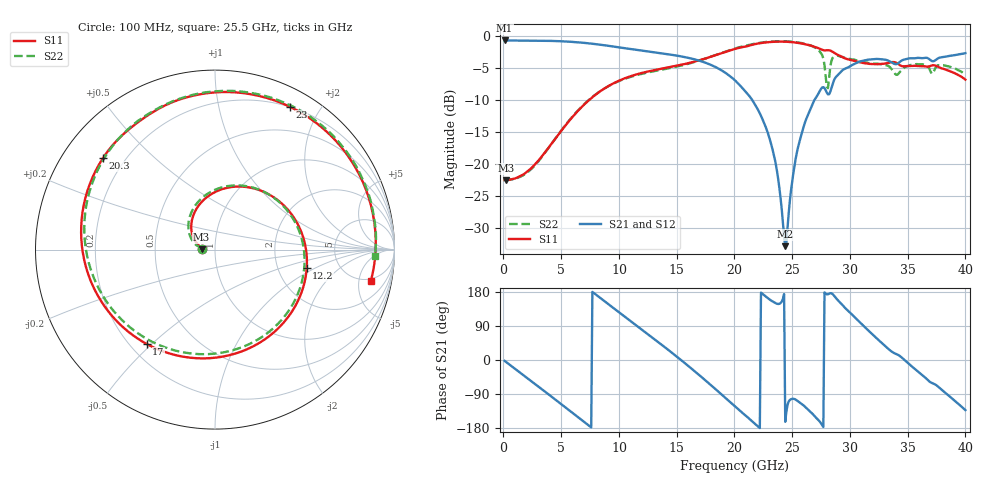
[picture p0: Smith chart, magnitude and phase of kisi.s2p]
! BV_vna_rf_hblb1: LibreVNA RF_HBLB_PORT1, via F.Cu → In2.Cu with a 0.87 mm stub to B.Cu (CPWG feeds)
! stackup: VNA from the board file and its kisi.json
! ports: 1 in, 2 out
! kisi-fdtd, conformal, dfine 0.0175 mm (the cell at metal ÷ 2), 5409600 cells
# Hz S RI R 50
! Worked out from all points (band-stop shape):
!   400 points, 100 MHz to 40 GHz, reference 50 ohm
!   highest |S21| = -0.67 dB at 100 MHz (marker M1); lowest = -32.9 dB at 24.4 GHz (marker M2)
!   |S21| within 3 dB of the highest: start of sweep to 16.64 GHz; 37.47 GHz to end of sweep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
!   lowest |S11| = -22.5 dB at 200 MHz (marker M3), VSWR 1.16, Z = 43.1 + j0.152 ohm
!   |S11| at or under -10 dB: start of sweep to 7.415 GHz
!   |S22| runs from -22.5 to -0.8 dB; largest |S21 - S12| = 0.0071
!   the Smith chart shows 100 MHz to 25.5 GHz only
!   S11 on the Smith chart (normalised r, x): 100 MHz: 0.86, +0.00; 12.2 GHz: 2.92, -0.82; 17 GHz: 0.27, -0.48; 20.3 GHz: 0.12, +0.35; 23 GHz: 0.20, +1.63; 25.5 GHz: 4.48, -7.29
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1e8  -0.0747 0.00092  0.9247 -0.0374  0.9246 -0.0375  -0.0747 0.000627
2e8  -0.0747 0.00175  0.9223 -0.0747  0.9222 -0.0746  -0.0747 0.00121
3.6e9  -0.1124 0.0507  0.1038 -0.9146  0.1037 -0.9144  -0.1166 0.037
6.8e9  -0.0679 0.2722  -0.83 -0.3195  -0.8301 -0.3196  -0.0929 0.267
9.8e9  0.3321 0.2882  -0.5366 0.6233  -0.5366 0.6234  0.329 0.2879
1.22e10  0.511 -0.1017  0.1941 0.7406  0.194 0.7406  0.4906 -0.1486
1.34e10  0.4329 -0.3386  0.5012 0.5446  0.5012 0.5444  0.369 -0.394
1.7e10  -0.3806 -0.5258  0.4838 -0.421  0.4837 -0.421  -0.4969 -0.4127
2.01e10  -0.6653 0.4384  -0.2487 -0.3706  -0.2486 -0.3706  -0.607 0.5253
2.03e10  -0.6239 0.5102  -0.271 -0.3317  -0.271 -0.3317  -0.5644 0.5855
2.3e10  0.4161 0.7965  -0.154 0.0539  -0.1541 0.0535  0.387 0.8185
2.44e10  0.8419 0.3323  -0.0218 -0.00656  -0.0222 -0.00718  0.8064 0.4265
2.55e10  0.8682 -0.1752  -0.0432 -0.1269  -0.0424 -0.1262  0.8911 -0.0371
2.67e10  0.5491 -0.6332  -0.2189 -0.1843  -0.2197 -0.1832  0.657 -0.5222
2.79e10  0.0377 -0.7731  -0.3766 0.0332  -0.3817 0.0377  0.0381 -0.4896
2.83e10  -0.1623 -0.7541  -0.3661 0.0235  -0.3685 0.0169  0.3188 -0.4744
3.01e10  -0.6315 -0.1548  -0.3152 0.4967  -0.3134 0.4957  -0.3615 -0.5518
3.16e10  -0.473 0.3819  0.1384 0.6409  0.1383 0.6395  -0.5933 -0.1672
3.34e10  0.0705 0.6153  0.5666 0.2935  0.5677 0.2944  -0.4972 0.2964
3.64e10  0.5816 -0.0053  0.4918 -0.4616  0.4903 -0.4651  -0.0415 0.5965
3.83e10  0.3215 -0.4427  0.031 -0.6913  0.0305 -0.6919  0.2846 0.5125
4e10  -0.1062 -0.4445  -0.4955 -0.5446  -0.4958 -0.5431  0.4537 0.2085
